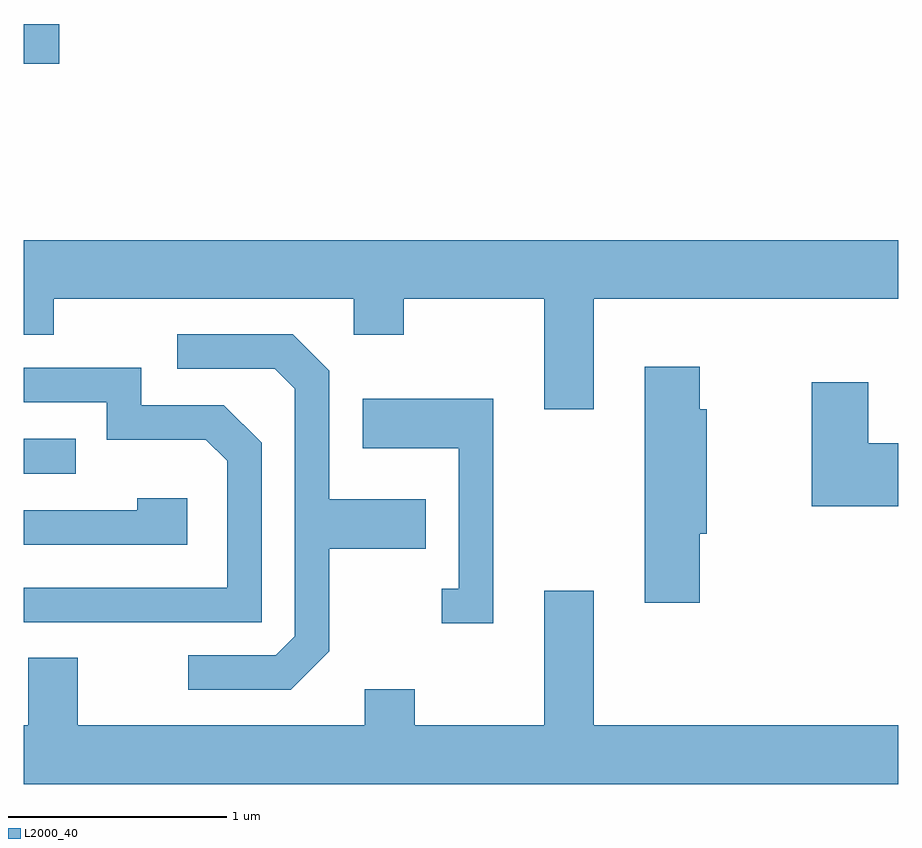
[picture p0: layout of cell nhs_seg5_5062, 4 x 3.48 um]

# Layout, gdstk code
import gdstk
lib = gdstk.Library(unit=1e-6, precision=1e-09)
def R(c, l, rs):  # rectangles x0, y0, x1, y1
    for r in rs: c.add(gdstk.rectangle(r[:2], r[2:], *l))
def P(c, l, *ps):  # polygons
    for p in ps: c.add(gdstk.Polygon(p, *l))
L2000_40 = (2000, 40)

nhs_seg5_5062 = lib.new_cell('nhs_seg5_5062')
R(nhs_seg5_5062, L2000_40, [(335.611,1436.016,335.848,1436.174), (335.611,1437.891,335.774,1438.072)])
P(nhs_seg5_5062, L2000_40, [(338.219,1436.816),(339.611,1436.816),(339.611,1437.084),(335.611,1437.084),(335.611,1436.651),(335.749,1436.651),(335.749,1436.816),(337.121,1436.816),(337.121,1436.651),(337.349,1436.651),(337.349,1436.816),(337.991,1436.816),(337.991,1436.311),(338.219,1436.311)],
  [(337.009,1435.204),(337.009,1435.671),(337.449,1435.671),(337.449,1435.899),(337.009,1435.899),(337.009,1436.487),(336.842,1436.654),(336.313,1436.654),(336.313,1436.496),(336.759,1436.496),(336.851,1436.404),(336.851,1435.272),(336.764,1435.184),(336.363,1435.184),(336.363,1435.026),(336.832,1435.026)],
  [(338.704,1435.741),(338.734,1435.741),(338.734,1436.309),(338.704,1436.309),(338.704,1436.504),(338.451,1436.504),(338.451,1435.426),(338.704,1435.426)],
  [(336.699,1436.157),(336.527,1436.329),(336.149,1436.329),(336.149,1436.499),(335.611,1436.499),(335.611,1436.341),(335.991,1436.341),(335.991,1436.171),(336.444,1436.171),(336.541,1436.074),(336.541,1435.494),(335.611,1435.494),(335.611,1435.336),(336.699,1435.336)],
  [(339.611,1436.154),(339.474,1436.154),(339.474,1436.434),(339.216,1436.434),(339.216,1435.866),(339.611,1435.866)],
  [(337.759,1436.359),(337.161,1436.359),(337.161,1436.131),(337.601,1436.131),(337.601,1435.489),(337.523,1435.489),(337.523,1435.331),(337.759,1435.331)],
  [(336.359,1435.904),(336.131,1435.904),(336.131,1435.849),(335.611,1435.849),(335.611,1435.691),(336.359,1435.691)],
  [(339.611,1434.864),(338.219,1434.864),(338.219,1435.479),(337.991,1435.479),(337.991,1434.864),(337.399,1434.864),(337.399,1435.029),(337.171,1435.029),(337.171,1434.864),(335.859,1434.864),(335.859,1435.174),(335.631,1435.174),(335.631,1434.864),(335.611,1434.864),(335.611,1434.596),(339.611,1434.596)])

lib.write_gds('nhs_seg5_5062.gds')
